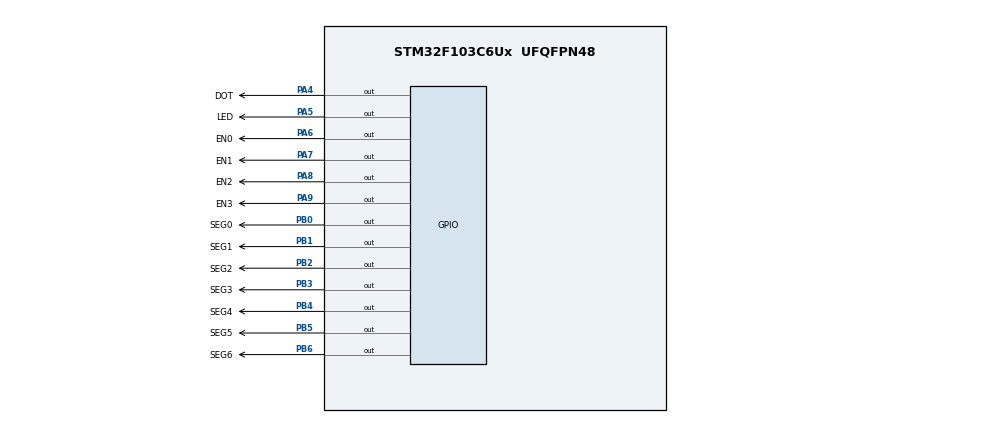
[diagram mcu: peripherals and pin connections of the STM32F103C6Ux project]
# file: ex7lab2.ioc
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Mcu.Family=STM32F1
Mcu.Name=STM32F103C6Ux
Mcu.Package=UFQFPN48
NVIC.PriorityGroup=NVIC_PRIORITYGROUP_4
NVIC.TIM2_IRQn=true\:0\:0\:false\:false\:true\:true\:true
PA4.GPIO_Label=DOT
PA4.Signal=GPIO_Output
PA5.GPIO_Label=LED
PA5.Signal=GPIO_Output
PA6.GPIO_Label=EN0
PA6.Signal=GPIO_Output
PA7.GPIO_Label=EN1
PA7.Signal=GPIO_Output
PA8.GPIO_Label=EN2
PA8.Signal=GPIO_Output
PA9.GPIO_Label=EN3
PA9.Signal=GPIO_Output
PB0.GPIO_Label=SEG0
PB0.Signal=GPIO_Output
PB1.GPIO_Label=SEG1
PB1.Signal=GPIO_Output
PB2.GPIO_Label=SEG2
PB2.Signal=GPIO_Output
PB3.GPIO_Label=SEG3
PB3.Signal=GPIO_Output
PB4.GPIO_Label=SEG4
PB4.Signal=GPIO_Output
PB5.GPIO_Label=SEG5
PB5.Signal=GPIO_Output
PB6.GPIO_Label=SEG6
PB6.Signal=GPIO_Output
ProjectManager.HeapSize=0x200
ProjectManager.StackSize=0x400
ProjectManager.TargetToolchain=STM32CubeIDE
RCC.APB1Freq_Value=8000000
RCC.APB2Freq_Value=8000000
TIM2.Period=9
TIM2.Prescaler=7999
VP_SYS_VS_ND.Mode=No_Debug
VP_TIM2_VS_ClockSourceINT.Mode=Internal
board=custom

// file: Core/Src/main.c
/* USER CODE BEGIN Header */
/**
  ******************************************************************************
  * @file           : main.c
  * @brief          : Lab 2 - Exercise 7: Upgraded Digital Clock with Software Timers
  ******************************************************************************
  */
/* USER CODE END Header */

#include "main.h"

TIM_HandleTypeDef htim2;

/* USER CODE BEGIN PV */
// --- Khai báo Software Timers (1 tick = 10ms) ---
int timer1_counter = 0;
int timer1_flag = 0;

int timer2_counter = 0;
int timer2_flag = 0;

// --- Biến lưu trữ thời gian đồng hồ ---
int hour = 15;
int minute = 8;
int second = 50;

// --- Biến hiển thị LED 7-đoạn ---
int index_led = 0;
int led_buffer[4] = {1, 5, 0, 8}; // Khởi tạo ban đầu (15:08)
/* USER CODE END PV */

void SystemClock_Config(void);
static void MX_GPIO_Init(void);
static void MX_TIM2_Init(void);

void setTimer1(int duration);
void setTimer2(int duration);
void timerRun(void);

void display7SEG(int num);
void update7SEG(int index);
void updateClockBuffer(void);

/* USER CODE BEGIN 0 */
// --- HÀM KHỞI TẠO SOFTWARE TIMERS ---
void setTimer1(int duration) {
    timer1_counter = duration; // duration x 10ms
    timer1_flag = 0;
}

void setTimer2(int duration) {
    timer2_counter = duration; // duration x 10ms
    timer2_flag = 0;
}

// --- HÀM ĐẾM SOFTWARE TIMERS (Gọi trong ngắt Hardware TIM2) ---
void timerRun(void) {
    if (timer1_counter > 0) {
        timer1_counter--;
        if (timer1_counter <= 0) {
            timer1_flag = 1;
        }
    }

    if (timer2_counter > 0) {
        timer2_counter--;
        if (timer2_counter <= 0) {
            timer2_flag = 1;
        }
    }
}

// --- CẬP NHẬT ĐỒNG HỒ & TÁCH SỐ CHO LED BUFFER ---
void updateClockBuffer(void) {
    second++;
    if (second >= 60) {
        second = 0;
        minute++;
        if (minute >= 60) {
            minute = 0;
            hour++;
            if (hour >= 24) {
                hour = 0;
            }
        }
    }

    // Tách chữ số hàng chục và hàng đơn vị cho Giờ & Phút
    led_buffer[0] = hour / 10;
    led_buffer[1] = hour % 10;
    led_buffer[2] = minute / 10;
    led_buffer[3] = minute % 10;
}

// --- HÀM HIỂN THỊ MÃ 7 ĐOẠN (BINARY ANODE CHUNG) ---
void display7SEG(int num) {
    uint8_t segmentNumber[10] = {
        0b00111111, // 0
        0b00000110, // 1
        0b01011011, // 2
        0b01001111, // 3
        0b01100110, // 4
        0b01101101, // 5
        0b01111101, // 6
        0b00000111, // 7
        0b01111111, // 8
        0b01101111  // 9
    };

    if (num >= 0 && num <= 9) {
        uint8_t data = ~segmentNumber[num]; // Đảo bit cho Anode chung (0 là SÁNG)
        for (int i = 0; i < 7; i++) {
            HAL_GPIO_WritePin(GPIOB, GPIO_PIN_0 << i, (data >> i) & 0b00000001);
        }
    }
}

// --- QUÉT LED THEO INDEX (PA6, PA7, PA8, PA9) ---
void update7SEG(int index) {
    // Tắt tất cả 4 Transistor PNP trước (Khóa mức HIGH)
    HAL_GPIO_WritePin(GPIOA, GPIO_PIN_6 | GPIO_PIN_7 | GPIO_PIN_8 | GPIO_PIN_9, GPIO_PIN_SET);

    // Kích mở LED tương ứng (Mức LOW)
    switch (index) {
        case 0:
            display7SEG(led_buffer[0]);
            HAL_GPIO_WritePin(GPIOA, GPIO_PIN_6, GPIO_PIN_RESET); // EN0 - PA6
            break;
        case 1:
            display7SEG(led_buffer[1]);
            HAL_GPIO_WritePin(GPIOA, GPIO_PIN_7, GPIO_PIN_RESET); // EN1 - PA7
            break;
        case 2:
            display7SEG(led_buffer[2]);
            HAL_GPIO_WritePin(GPIOA, GPIO_PIN_8, GPIO_PIN_RESET); // EN2 - PA8
            break;
        case 3:
            display7SEG(led_buffer[3]);
            HAL_GPIO_WritePin(GPIOA, GPIO_PIN_9, GPIO_PIN_RESET); // EN3 - PA9
            break;
        default:
            break;
    }
}

// --- CALLBACK NGẮT HARDWARE TIM2 (10MS) ---
void HAL_TIM_PeriodElapsedCallback(TIM_HandleTypeDef *htim) {
    if (htim->Instance == TIM2) {
        timerRun();
    }
}
/* USER CODE END 0 */

int main(void)
{
  HAL_Init();
  SystemClock_Config();

  MX_GPIO_Init();
  MX_TIM2_Init();

  /* Kích hoạt ngắt Hardware Timer 2 */
  HAL_TIM_Base_Start_IT(&htim2);

  /* Khởi tạo 2 Software Timers */
  setTimer1(25);  // Software Timer 1: 250ms (Quét 1 LED 7-đoạn)
  setTimer2(100); // Software Timer 2: 1000ms (1 giây - Cập nhật đồng hồ)

  while (1)
  {
    /* 1. Software Timer 1: Quét hiển thị 4 LED 7-đoạn (mỗi 250ms) */
    if (timer1_flag == 1) {
        setTimer1(25);              // Đặt lại timer 1 (250ms)
        update7SEG(index_led);      // Hiển thị LED 7-đoạn theo index
        index_led++;
        if (index_led >= 4) {
            index_led = 0;          // Quay lại LED 0
        }
    }

    /* 2. Software Timer 2: Cập nhật Đồng hồ & Đảo trạng thái LED DOT (PA4) (mỗi 1000ms) */
    if (timer2_flag == 1) {
        setTimer2(100);             // Đặt lại timer 2 (1000ms = 1 giây)
        updateClockBuffer();        // Tăng second/minute/hour
        HAL_GPIO_TogglePin(GPIOA, GPIO_PIN_4); // Đảo trạng thái LED DOT (PA4)
    }
  }
}

void SystemClock_Config(void)
{
  RCC_OscInitTypeDef RCC_OscInitStruct = {0};
  RCC_ClkInitTypeDef RCC_ClkInitStruct = {0};

  RCC_OscInitStruct.OscillatorType = RCC_OSCILLATORTYPE_HSI;
  RCC_OscInitStruct.HSIState = RCC_HSI_ON;
  RCC_OscInitStruct.HSICalibrationValue = RCC_HSICALIBRATION_DEFAULT;
  RCC_OscInitStruct.PLL.PLLState = RCC_PLL_NONE;
  if (HAL_RCC_OscConfig(&RCC_OscInitStruct) != HAL_OK)
  {
    Error_Handler();
  }

  RCC_ClkInitStruct.ClockType = RCC_CLOCKTYPE_HCLK|RCC_CLOCKTYPE_SYSCLK
                              |RCC_CLOCKTYPE_PCLK1|RCC_CLOCKTYPE_PCLK2;
  RCC_ClkInitStruct.SYSCLKSource = RCC_SYSCLKSOURCE_HSI;
  RCC_ClkInitStruct.AHBCLKDivider = RCC_SYSCLK_DIV1;
  RCC_ClkInitStruct.APB1CLKDivider = RCC_HCLK_DIV1;
  RCC_ClkInitStruct.APB2CLKDivider = RCC_HCLK_DIV1;

  if (HAL_RCC_ClockConfig(&RCC_ClkInitStruct, FLASH_LATENCY_0) != HAL_OK)
  {
    Error_Handler();
  }
}

static void MX_TIM2_Init(void)
{
  TIM_ClockConfigTypeDef sClockSourceConfig = {0};
  TIM_MasterConfigTypeDef sMasterConfig = {0};

  htim2.Instance = TIM2;
  htim2.Init.Prescaler = 7999; // 8MHz / 8000 = 1000Hz (1ms)
  htim2.Init.CounterMode = TIM_COUNTERMODE_UP;
  htim2.Init.Period = 9;       // Tần số ngắt 10ms/lần
  htim2.Init.ClockDivision = TIM_CLOCKDIVISION_DIV1;
  htim2.Init.AutoReloadPreload = TIM_AUTORELOAD_PRELOAD_DISABLE;
  if (HAL_TIM_Base_Init(&htim2) != HAL_OK)
  {
    Error_Handler();
  }
  sClockSourceConfig.ClockSource = TIM_CLOCKSOURCE_INTERNAL;
  if (HAL_TIM_ConfigClockSource(&htim2, &sClockSourceConfig) != HAL_OK)
  {
    Error_Handler();
  }
  sMasterConfig.MasterOutputTrigger = TIM_TRGO_RESET;
  sMasterConfig.MasterSlaveMode = TIM_MASTERSLAVEMODE_DISABLE;
  if (HAL_TIMEx_MasterConfigSynchronization(&htim2, &sMasterConfig) != HAL_OK)
  {
    Error_Handler();
  }
}

static void MX_GPIO_Init(void)
{
  GPIO_InitTypeDef GPIO_InitStruct = {0};

  /* Enable Clocks */
  __HAL_RCC_GPIOA_CLK_ENABLE();
  __HAL_RCC_GPIOB_CLK_ENABLE();
  __HAL_RCC_AFIO_CLK_ENABLE();

  /* Tắt JTAG để giải phóng chân PB3, PB4 */
  __HAL_AFIO_REMAP_SWJ_NOJTAG();

  /* Trạng thái ban đầu GPIOA: Tắt 4 Transistor (HIGH), Tắt LED DOT (LOW) */
  HAL_GPIO_WritePin(GPIOA, GPIO_PIN_4 | GPIO_PIN_5, GPIO_PIN_RESET);
  HAL_GPIO_WritePin(GPIOA, GPIO_PIN_6 | GPIO_PIN_7 | GPIO_PIN_8 | GPIO_PIN_9, GPIO_PIN_SET);

  /* Trạng thái ban đầu GPIOB (Bus 7 đoạn) */
  HAL_GPIO_WritePin(GPIOB, GPIO_PIN_0 | GPIO_PIN_1 | GPIO_PIN_2 | GPIO_PIN_3
                          | GPIO_PIN_4 | GPIO_PIN_5 | GPIO_PIN_6, GPIO_PIN_RESET);

  /* Cấu hình chân Output GPIOA (PA4 -> PA9) */
  GPIO_InitStruct.Pin = GPIO_PIN_4 | GPIO_PIN_5 | GPIO_PIN_6 | GPIO_PIN_7 | GPIO_PIN_8 | GPIO_PIN_9;
  GPIO_InitStruct.Mode = GPIO_MODE_OUTPUT_PP;
  GPIO_InitStruct.Pull = GPIO_NOPULL;
  GPIO_InitStruct.Speed = GPIO_SPEED_FREQ_LOW;
  HAL_GPIO_Init(GPIOA, &GPIO_InitStruct);

  /* Cấu hình chân Output GPIOB (PB0 -> PB6) */
  GPIO_InitStruct.Pin = GPIO_PIN_0 | GPIO_PIN_1 | GPIO_PIN_2 | GPIO_PIN_3
                          | GPIO_PIN_4 | GPIO_PIN_5 | GPIO_PIN_6;
  GPIO_InitStruct.Mode = GPIO_MODE_OUTPUT_PP;
  GPIO_InitStruct.Pull = GPIO_NOPULL;
  GPIO_InitStruct.Speed = GPIO_SPEED_FREQ_LOW;
  HAL_GPIO_Init(GPIOB, &GPIO_InitStruct);
}

void Error_Handler(void)
{
  __disable_irq();
  while (1)
  {
  }
}
